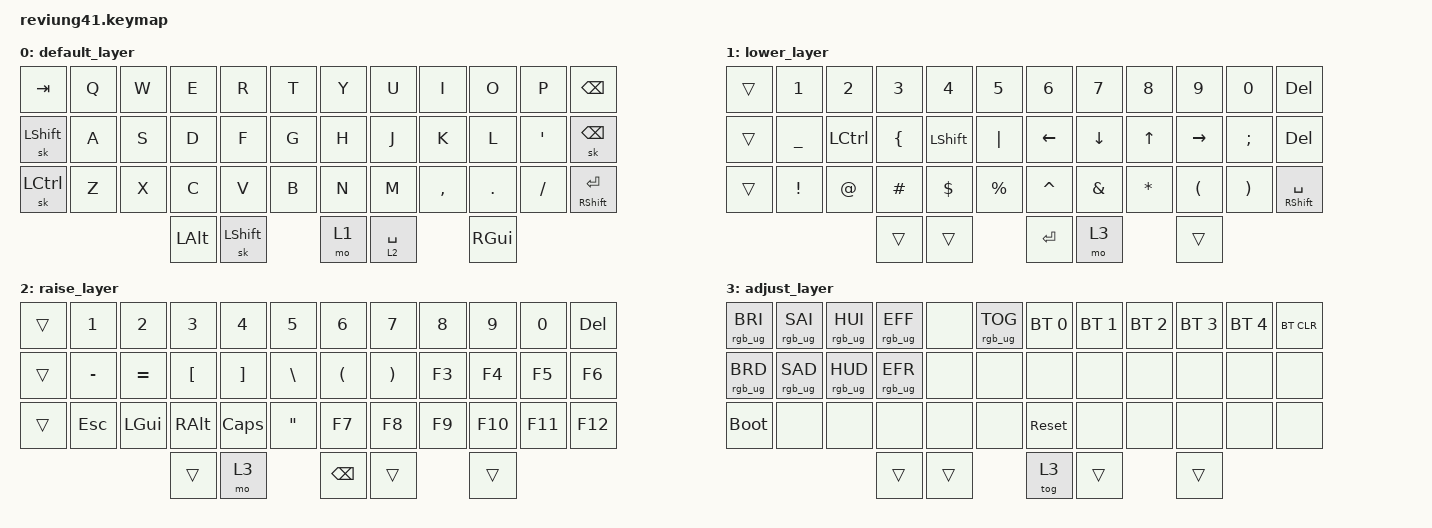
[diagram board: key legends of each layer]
/*
 * Copyright (c) 2020 The ZMK Contributors
 *
 * SPDX-License-Identifier: MIT
 */

#include <behaviors.dtsi>
#include <dt-bindings/zmk/keys.h>
#include <dt-bindings/zmk/bt.h>
#include <dt-bindings/zmk/rgb.h>

/ {

        combos {
            compatible = "zmk,combos";
            combo_caps {
                timeout-ms = <50>;
                key-positions = <16 19>;
                bindings = <&kp CAPS>;
            };
            combo_nav {
                timeout-ms = <50>;
                key-positions = <31 34>;
                bindings = <&tog 3>;
            };
        };

        keymap {
                compatible = "zmk,keymap";

                default_layer {
// -------------------------------------------------------------------------------------
// |  TAB |  Q  |  W  |  E  |  R  |  T  |   |  Y  |  U   |  I  |  O  |  P  |   BKSP    |
// | CTRL |  A  |  S  |  D  |  F  |  G  |   |  H  |  J   |  K  |  L  |  ;  |    '      |
// | SHFT |  Z  |  X  |  C  |  V  |  B  |   |  N  |  M   |  ,  |  .  |  /  | SHFT(RET) |
//                         | ALT | LWR | SPC | RSE  | ALT |
                        bindings = <
   &kp TAB   &kp Q &kp W &kp E &kp R &kp T   &kp Y &kp U  &kp I     &kp O   &kp P    &kp BSPC
   &sk LSHFT &kp A &kp S &kp D &kp F &kp G   &kp H &kp J  &kp K     &kp L   &kp SQT  &sk BSPC
   &sk LCTRL &kp Z &kp X &kp C &kp V &kp B   &kp N &kp M  &kp COMMA &kp DOT &kp FSLH &mt RSHFT RET
                        &kp LALT  &sk LSHFT  &mo 1 &lt 2 SPACE  &kp RGUI
                        >;
                };

                lower_layer {
// ------------------------------------------------------------------------------------
// |    |  !  |  @  |  #  |  $  |  %  |   |  ^  |  &  |  *  |  (  |  )  |      DEL    |
// |    |  _  |  +  |  {  |  }  | "|" |   | LFT | DWN |  UP | RGT |  `  |       ~     |
// |    | ESC | GUI | ALT | CAPS|  "  |   | HOME| END | PGUP| PGDN| PRSC| SHFT(SPACE) |
//                       |     |     | RET | ADJ |     |
                        bindings = <
   &trans &kp N1    &kp N2      &kp N3    &kp N4    &kp N5        &kp N6    &kp N7    &kp N8    &kp N9    &kp N0  &kp DEL
   &trans &kp UNDER &kp LCTRL   &kp LBRC  &kp LSHFT &kp PIPE      &kp LEFT  &kp DOWN &kp UP    &kp RIGHT &kp SEMI &kp DEL
   &trans &kp EXCL  &kp AT      &kp HASH &kp DLLR &kp PRCNT       &kp CARET &kp AMPS &kp ASTRK &kp LPAR  &kp RPAR &mt RSHFT SPACE
                                 &trans      &trans       &kp RET        &mo 3       &trans
                        >;
                };

                raise_layer {
// ----------------------------------------------------------------------------
// |    |  1  |  2  |  3  |  4  |  5  |   |  6  |  7  |  8  |  9  |  0  | DEL |
// |    |  -  |  =  |  [  |  ]  |  \  |   | F1  | F2  | F3  | F4  | F5  | F6  |
// |    | ESC | GUI | ALT | CAPS|  "  |   | F7  | F8  | F9  | F10 | F11 | F12 |
//                       |     | ADJ | BKSP |    |     |
                        bindings = <
   &trans &kp N1    &kp N2    &kp N3    &kp N4    &kp N5        &kp N6    &kp N7    &kp N8    &kp N9    &kp N0    &kp DEL
   &trans &kp MINUS &kp EQUAL &kp LBKT  &kp RBKT  &kp BSLH      &kp LPAR  &kp RPAR    &kp F3    &kp F4    &kp F5    &kp F6
   &trans &kp ESC   &kp LGUI  &kp RALT  &kp CLCK  &kp DQT       &kp F7    &kp F8    &kp F9    &kp F10   &kp F11   &kp F12
                                &trans      &mo 3       &kp BSPC        &trans      &trans
                        >;
                };

                adjust_layer {
// -----------------------------------------------------------------------------------------
// | RGB BRI+ | RGB SAT+ | RGB HUE+ | RGB ANI+ |    | RGB TOG |   |  BT1  | BT2 | BT3 | BT4 | BT5 | BT CLR |
// | RGB BRI- | RGB SAT- | RGB HUE- | RGB ANI- |    |         |   |       |     |     |     |     |        |
// |          |          |          |          |    |         |   | RESET |     |     |     |     |        |
//                                              |     |     |     |     |     |
                        bindings = <
   &rgb_ug RGB_BRI &rgb_ug RGB_SAI &rgb_ug RGB_HUI &rgb_ug RGB_EFF &none &rgb_ug RGB_TOG    &bt BT_SEL 0 &bt BT_SEL 1 &bt BT_SEL 2 &bt BT_SEL 3 &bt BT_SEL 4 &bt BT_CLR
   &rgb_ug RGB_BRD &rgb_ug RGB_SAD &rgb_ug RGB_HUD &rgb_ug RGB_EFR &none &none              &none        &none        &none        &none        &none        &none
   &bootloader     &none           &none           &none           &none &none              &sys_reset       &none        &none        &none        &none        &none
                                                             &trans      &trans       &tog 3        &trans      &trans
                        >;
                };
        };
};
